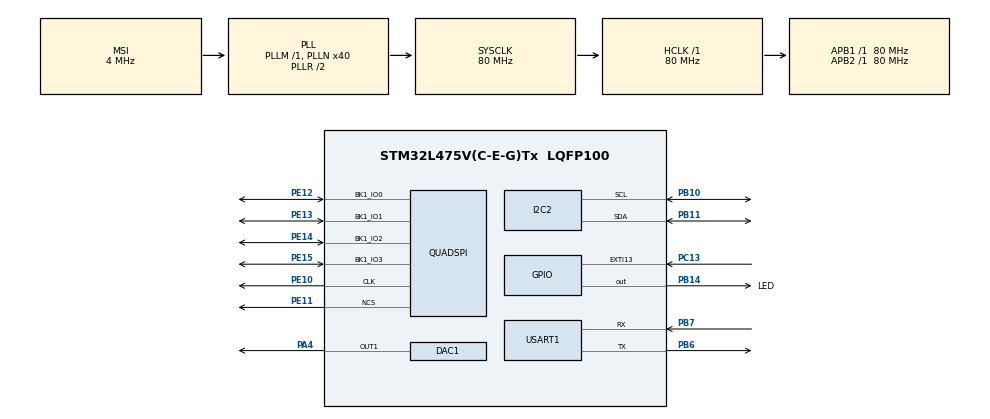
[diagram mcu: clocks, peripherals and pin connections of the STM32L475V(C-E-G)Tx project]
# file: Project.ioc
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DAC1.DAC_Trigger-DAC_OUT1=DAC_TRIGGER_T2_TRGO
Dma.DAC_CH1.0.Direction=DMA_MEMORY_TO_PERIPH
Dma.DAC_CH1.0.Instance=DMA1_Channel3
Dma.DAC_CH1.0.MemDataAlignment=DMA_MDATAALIGN_BYTE
Dma.DAC_CH1.0.MemInc=DMA_MINC_ENABLE
Dma.DAC_CH1.0.Mode=DMA_CIRCULAR
Dma.DAC_CH1.0.PeriphDataAlignment=DMA_PDATAALIGN_BYTE
Dma.DAC_CH1.0.PeriphInc=DMA_PINC_DISABLE
Dma.DAC_CH1.0.Priority=DMA_PRIORITY_LOW
Dma.Request0=DAC_CH1
I2C2.Timing=0x10909CEC
Mcu.Family=STM32L4
Mcu.Name=STM32L475V(C-E-G)Tx
Mcu.Package=LQFP100
NVIC.DMA1_Channel3_IRQn=true\:0\:0\:false\:false\:true\:false\:true
NVIC.EXTI15_10_IRQn=true\:0\:0\:false\:false\:true\:true\:true
NVIC.PriorityGroup=NVIC_PRIORITYGROUP_4
NVIC.TIM2_IRQn=true\:0\:0\:false\:false\:true\:true\:true
NVIC.TIM3_IRQn=true\:1\:0\:true\:false\:true\:true\:true
NVIC.TIM4_IRQn=true\:0\:0\:true\:false\:true\:true\:true
PA13\ (JTMS-SWDIO).Signal=SYS_JTMS-SWDIO
PA4.Signal=COMP_DAC11_group
PB10.Mode=I2C
PB10.Signal=I2C2_SCL
PB11.Mode=I2C
PB11.Signal=I2C2_SDA
PB14.GPIO_Label=LED
PB14.Signal=GPIO_Output
PB3\ (JTDO-TRACESWO).Signal=SYS_JTDO-SWO
PB6.Mode=Asynchronous
PB6.Signal=USART1_TX
PB7.Mode=Asynchronous
PB7.Signal=USART1_RX
PC13.GPIO_ModeDefaultEXTI=GPIO_MODE_IT_FALLING
PC13.Signal=GPXTI13
PE10.Mode=Single Bank
PE10.Signal=QUADSPI_CLK
PE11.Mode=Single Bank
PE11.Signal=QUADSPI_NCS
PE12.Mode=Single Bank
PE12.Signal=QUADSPI_BK1_IO0
PE13.Mode=Single Bank
PE13.Signal=QUADSPI_BK1_IO1
PE14.Mode=Single Bank
PE14.Signal=QUADSPI_BK1_IO2
PE15.Mode=Single Bank
PE15.Signal=QUADSPI_BK1_IO3
ProjectManager.HeapSize=0x200
ProjectManager.StackSize=0x400
ProjectManager.TargetToolchain=STM32CubeIDE
RCC.ADCFreq_Value=48000000
RCC.AHBFreq_Value=80000000
RCC.APB1Freq_Value=80000000
RCC.APB1TimFreq_Value=80000000
RCC.APB2Freq_Value=80000000
RCC.APB2TimFreq_Value=80000000
RCC.CortexFreq_Value=80000000
RCC.HCLKFreq_Value=80000000
RCC.HSE_VALUE=8000000
RCC.HSI_VALUE=16000000
RCC.LSE_VALUE=32768
RCC.MSI_VALUE=4000000
RCC.PLLN=40
RCC.PLLSAI1N=24
RCC.SYSCLKFreq_VALUE=80000000
RCC.SYSCLKSource=RCC_SYSCLKSOURCE_PLLCLK
RCC.USBFreq_Value=48000000
RCC.VCOOutputFreq_Value=160000000
SH.COMP_DAC11_group.0=DAC1_OUT1,DAC_OUT1
TIM2.Period=1814
TIM2.TIM_MasterOutputTrigger=TIM_TRGO_UPDATE
TIM3.Period=40000
TIM3.Prescaler=100
TIM4.Period=40000
TIM4.Prescaler=101
TIM4.TIM_MasterSlaveMode=TIM_MASTERSLAVEMODE_DISABLE
USART1.VirtualMode-Asynchronous=VM_ASYNC
VP_TIM2_VS_ClockSourceINT.Mode=Internal
VP_TIM3_VS_ClockSourceINT.Mode=Internal
VP_TIM4_VS_ClockSourceINT.Mode=Internal
board=B-L475E-IOT01A1

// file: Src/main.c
/* USER CODE BEGIN Header */
/**
  ******************************************************************************
  * @file           : main.c
  * @brief          : Main program body
  ******************************************************************************
  * @attention
  *
  * <h2><center>&copy; Copyright (c) 2020 STMicroelectronics.
  * All rights reserved.</center></h2>
  *
  * This software component is licensed by ST under BSD 3-Clause license,
  * the "License"; You may not use this file except in compliance with the
  * License. You may obtain a copy of the License at:
  *                        opensource.org/licenses/BSD-3-Clause
  *
  ******************************************************************************
  */
/* USER CODE END Header */
#include "main.h"

/* USER CODE BEGIN Includes */
#include <string.h>
#include <stdio.h>
#include <math.h>
#include <time.h>
#include <sys/time.h>

#define ARM_MATH_CM4
#include "arm_math.h"
#include "stm32l475e_iot01.h"
#include "stm32l475e_iot01_accelero.h"
#include "stm32l475e_iot01_qspi.h"
/* USER CODE END Includes */

/* USER CODE BEGIN PD */
#define BLOCK_SIZE 65536
int blockMemoryIndex = 10;
int blockNum = 0;
int filledOnce = 0;
int eraseMode = 0;
int beginUART = 0;
int readblockMemoryIndex = 10;
int readBlockNum = 0;
int blocksRead = 0;
int qspiMode = 0; //0 for write, 1 for read
int zeroMagCounter = 0;
int prevMag = 0;
int readCount = 0; //used to display the time
int startQSPI = 0;
/* USER CODE END PD */

DAC_HandleTypeDef hdac1;
DMA_HandleTypeDef hdma_dac_ch1;

I2C_HandleTypeDef hi2c2;

QSPI_HandleTypeDef hqspi;

TIM_HandleTypeDef htim2;
TIM_HandleTypeDef htim3;
TIM_HandleTypeDef htim4;

UART_HandleTypeDef huart1;

/* USER CODE BEGIN PV */
int16_t accelero_XYZ[3];
char accelero_XYZ_buffer[100];
int16_t prev_accelero_XYZ[3];
char max_accelero_XYZ_buffer[100];
uint8_t magnitude;
/* USER CODE END PV */

void SystemClock_Config(void);
static void MX_GPIO_Init(void);
static void MX_DMA_Init(void);
static void MX_DAC1_Init(void);
static void MX_TIM2_Init(void);
static void MX_QUADSPI_Init(void);
static void MX_I2C2_Init(void);
static void MX_USART1_UART_Init(void);
static void MX_TIM3_Init(void);
static void MX_TIM4_Init(void);
/* USER CODE BEGIN PFP */
void HAL_GPIO_EXTI_Callback(uint16_t GPIO_Pin);
void HAL_TIM_PeriodElapsedCallback(TIM_HandleTypeDef* htim);

/* USER CODE END PFP */

int main(void)
{

  /* MCU Configuration--------------------------------------------------------*/

  /* Reset of all peripherals, Initializes the Flash interface and the Systick. */
  HAL_Init();

  /* Configure the system clock */
  SystemClock_Config();

  /* Initialize all configured peripherals */
  MX_GPIO_Init();
  MX_DMA_Init();
  MX_DAC1_Init();
  MX_TIM2_Init();
  MX_QUADSPI_Init();
  MX_I2C2_Init();
  MX_USART1_UART_Init();
  MX_TIM3_Init();
  MX_TIM4_Init();
  /* USER CODE BEGIN 2 */

  /* Initialize I2C sensors */
  BSP_ACCELERO_Init();
  /* Set low power mode for accelerometer */
  BSP_ACCELERO_LowPower(1);
  /* Initialize QSPI */
  BSP_QSPI_Init();

  for (int i = 0; i <= 12; i++) { //init by erasing the 13 blocks used (832 kb)
	  if(BSP_QSPI_Erase_Block(i*BLOCK_SIZE) != QSPI_OK){
		  Error_Handler();
	  }
  }

  //store the sound wave in QSPI
  uint8_t sineWave[32];
  float radian_1 = 0;
  for (int i = 0; i < 32; i++) {
	  sineWave[i] = 100 * arm_sin_f32(radian_1) + 100;
	  radian_1 += PI/2;
  }

  //write the sine wave to the first block in flash
  if(BSP_QSPI_Write(sineWave, 0, 32) != QSPI_OK){
 		  Error_Handler();
  }

  // read initial values
  BSP_ACCELERO_AccGetXYZ(prev_accelero_XYZ);

  // start TIM3 for accelerometer reading
  HAL_TIM_Base_Start_IT(&htim3);

  /* USER CODE END 2 */

  /* Infinite loop */
  while (1) {

  }
}

void SystemClock_Config(void)
{
  RCC_OscInitTypeDef RCC_OscInitStruct = {0};
  RCC_ClkInitTypeDef RCC_ClkInitStruct = {0};
  RCC_PeriphCLKInitTypeDef PeriphClkInit = {0};

  /** Initializes the RCC Oscillators according to the specified parameters
  * in the RCC_OscInitTypeDef structure.
  */
  RCC_OscInitStruct.OscillatorType = RCC_OSCILLATORTYPE_MSI;
  RCC_OscInitStruct.MSIState = RCC_MSI_ON;
  RCC_OscInitStruct.MSICalibrationValue = 0;
  RCC_OscInitStruct.MSIClockRange = RCC_MSIRANGE_6;
  RCC_OscInitStruct.PLL.PLLState = RCC_PLL_ON;
  RCC_OscInitStruct.PLL.PLLSource = RCC_PLLSOURCE_MSI;
  RCC_OscInitStruct.PLL.PLLM = 1;
  RCC_OscInitStruct.PLL.PLLN = 40;
  RCC_OscInitStruct.PLL.PLLP = RCC_PLLP_DIV7;
  RCC_OscInitStruct.PLL.PLLQ = RCC_PLLQ_DIV2;
  RCC_OscInitStruct.PLL.PLLR = RCC_PLLR_DIV2;
  if (HAL_RCC_OscConfig(&RCC_OscInitStruct) != HAL_OK)
  {
    Error_Handler();
  }
  /** Initializes the CPU, AHB and APB buses clocks
  */
  RCC_ClkInitStruct.ClockType = RCC_CLOCKTYPE_HCLK|RCC_CLOCKTYPE_SYSCLK
                              |RCC_CLOCKTYPE_PCLK1|RCC_CLOCKTYPE_PCLK2;
  RCC_ClkInitStruct.SYSCLKSource = RCC_SYSCLKSOURCE_PLLCLK;
  RCC_ClkInitStruct.AHBCLKDivider = RCC_SYSCLK_DIV1;
  RCC_ClkInitStruct.APB1CLKDivider = RCC_HCLK_DIV1;
  RCC_ClkInitStruct.APB2CLKDivider = RCC_HCLK_DIV1;

  if (HAL_RCC_ClockConfig(&RCC_ClkInitStruct, FLASH_LATENCY_4) != HAL_OK)
  {
    Error_Handler();
  }
  PeriphClkInit.PeriphClockSelection = RCC_PERIPHCLK_USART1|RCC_PERIPHCLK_I2C2;
  PeriphClkInit.Usart1ClockSelection = RCC_USART1CLKSOURCE_PCLK2;
  PeriphClkInit.I2c2ClockSelection = RCC_I2C2CLKSOURCE_PCLK1;
  if (HAL_RCCEx_PeriphCLKConfig(&PeriphClkInit) != HAL_OK)
  {
    Error_Handler();
  }
  /** Configure the main internal regulator output voltage
  */
  if (HAL_PWREx_ControlVoltageScaling(PWR_REGULATOR_VOLTAGE_SCALE1) != HAL_OK)
  {
    Error_Handler();
  }
}

static void MX_DAC1_Init(void)
{

  DAC_ChannelConfTypeDef sConfig = {0};

  /** DAC Initialization
  */
  hdac1.Instance = DAC1;
  if (HAL_DAC_Init(&hdac1) != HAL_OK)
  {
    Error_Handler();
  }
  /** DAC channel OUT1 config
  */
  sConfig.DAC_SampleAndHold = DAC_SAMPLEANDHOLD_DISABLE;
  sConfig.DAC_Trigger = DAC_TRIGGER_T2_TRGO;
  sConfig.DAC_OutputBuffer = DAC_OUTPUTBUFFER_ENABLE;
  sConfig.DAC_ConnectOnChipPeripheral = DAC_CHIPCONNECT_DISABLE;
  sConfig.DAC_UserTrimming = DAC_TRIMMING_FACTORY;
  if (HAL_DAC_ConfigChannel(&hdac1, &sConfig, DAC_CHANNEL_1) != HAL_OK)
  {
    Error_Handler();
  }

}

static void MX_I2C2_Init(void)
{

  hi2c2.Instance = I2C2;
  hi2c2.Init.Timing = 0x10909CEC;
  hi2c2.Init.OwnAddress1 = 0;
  hi2c2.Init.AddressingMode = I2C_ADDRESSINGMODE_7BIT;
  hi2c2.Init.DualAddressMode = I2C_DUALADDRESS_DISABLE;
  hi2c2.Init.OwnAddress2 = 0;
  hi2c2.Init.OwnAddress2Masks = I2C_OA2_NOMASK;
  hi2c2.Init.GeneralCallMode = I2C_GENERALCALL_DISABLE;
  hi2c2.Init.NoStretchMode = I2C_NOSTRETCH_DISABLE;
  if (HAL_I2C_Init(&hi2c2) != HAL_OK)
  {
    Error_Handler();
  }
  /** Configure Analogue filter
  */
  if (HAL_I2CEx_ConfigAnalogFilter(&hi2c2, I2C_ANALOGFILTER_ENABLE) != HAL_OK)
  {
    Error_Handler();
  }
  /** Configure Digital filter
  */
  if (HAL_I2CEx_ConfigDigitalFilter(&hi2c2, 0) != HAL_OK)
  {
    Error_Handler();
  }

}

static void MX_QUADSPI_Init(void)
{

  /* QUADSPI parameter configuration*/
  hqspi.Instance = QUADSPI;
  hqspi.Init.ClockPrescaler = 255;
  hqspi.Init.FifoThreshold = 1;
  hqspi.Init.SampleShifting = QSPI_SAMPLE_SHIFTING_NONE;
  hqspi.Init.FlashSize = 1;
  hqspi.Init.ChipSelectHighTime = QSPI_CS_HIGH_TIME_1_CYCLE;
  hqspi.Init.ClockMode = QSPI_CLOCK_MODE_0;
  if (HAL_QSPI_Init(&hqspi) != HAL_OK)
  {
    Error_Handler();
  }

}

static void MX_TIM2_Init(void)
{

  TIM_ClockConfigTypeDef sClockSourceConfig = {0};
  TIM_MasterConfigTypeDef sMasterConfig = {0};

  htim2.Instance = TIM2;
  htim2.Init.Prescaler = 0;
  htim2.Init.CounterMode = TIM_COUNTERMODE_UP;
  htim2.Init.Period = 1814;
  htim2.Init.ClockDivision = TIM_CLOCKDIVISION_DIV1;
  htim2.Init.AutoReloadPreload = TIM_AUTORELOAD_PRELOAD_DISABLE;
  if (HAL_TIM_Base_Init(&htim2) != HAL_OK)
  {
    Error_Handler();
  }
  sClockSourceConfig.ClockSource = TIM_CLOCKSOURCE_INTERNAL;
  if (HAL_TIM_ConfigClockSource(&htim2, &sClockSourceConfig) != HAL_OK)
  {
    Error_Handler();
  }
  sMasterConfig.MasterOutputTrigger = TIM_TRGO_UPDATE;
  sMasterConfig.MasterSlaveMode = TIM_MASTERSLAVEMODE_DISABLE;
  if (HAL_TIMEx_MasterConfigSynchronization(&htim2, &sMasterConfig) != HAL_OK)
  {
    Error_Handler();
  }

}

static void MX_TIM3_Init(void)
{

  TIM_ClockConfigTypeDef sClockSourceConfig = {0};
  TIM_MasterConfigTypeDef sMasterConfig = {0};

  htim3.Instance = TIM3;
  htim3.Init.Prescaler = 100;
  htim3.Init.CounterMode = TIM_COUNTERMODE_UP;
  htim3.Init.Period = 40000;
  htim3.Init.ClockDivision = TIM_CLOCKDIVISION_DIV1;
  htim3.Init.AutoReloadPreload = TIM_AUTORELOAD_PRELOAD_DISABLE;
  if (HAL_TIM_Base_Init(&htim3) != HAL_OK)
  {
    Error_Handler();
  }
  sClockSourceConfig.ClockSource = TIM_CLOCKSOURCE_INTERNAL;
  if (HAL_TIM_ConfigClockSource(&htim3, &sClockSourceConfig) != HAL_OK)
  {
    Error_Handler();
  }
  sMasterConfig.MasterOutputTrigger = TIM_TRGO_RESET;
  sMasterConfig.MasterSlaveMode = TIM_MASTERSLAVEMODE_DISABLE;
  if (HAL_TIMEx_MasterConfigSynchronization(&htim3, &sMasterConfig) != HAL_OK)
  {
    Error_Handler();
  }

}

static void MX_TIM4_Init(void)
{

  TIM_ClockConfigTypeDef sClockSourceConfig = {0};
  TIM_MasterConfigTypeDef sMasterConfig = {0};

  htim4.Instance = TIM4;
  htim4.Init.Prescaler = 101;
  htim4.Init.CounterMode = TIM_COUNTERMODE_UP;
  htim4.Init.Period = 40000;
  htim4.Init.ClockDivision = TIM_CLOCKDIVISION_DIV1;
  htim4.Init.AutoReloadPreload = TIM_AUTORELOAD_PRELOAD_DISABLE;
  if (HAL_TIM_Base_Init(&htim4) != HAL_OK)
  {
    Error_Handler();
  }
  sClockSourceConfig.ClockSource = TIM_CLOCKSOURCE_INTERNAL;
  if (HAL_TIM_ConfigClockSource(&htim4, &sClockSourceConfig) != HAL_OK)
  {
    Error_Handler();
  }
  sMasterConfig.MasterOutputTrigger = TIM_TRGO_RESET;
  sMasterConfig.MasterSlaveMode = TIM_MASTERSLAVEMODE_DISABLE;
  if (HAL_TIMEx_MasterConfigSynchronization(&htim4, &sMasterConfig) != HAL_OK)
  {
    Error_Handler();
  }

}

static void MX_USART1_UART_Init(void)
{

  huart1.Instance = USART1;
  huart1.Init.BaudRate = 115200;
  huart1.Init.WordLength = UART_WORDLENGTH_8B;
  huart1.Init.StopBits = UART_STOPBITS_1;
  huart1.Init.Parity = UART_PARITY_NONE;
  huart1.Init.Mode = UART_MODE_TX_RX;
  huart1.Init.HwFlowCtl = UART_HWCONTROL_NONE;
  huart1.Init.OverSampling = UART_OVERSAMPLING_16;
  huart1.Init.OneBitSampling = UART_ONE_BIT_SAMPLE_DISABLE;
  huart1.AdvancedInit.AdvFeatureInit = UART_ADVFEATURE_NO_INIT;
  if (HAL_UART_Init(&huart1) != HAL_OK)
  {
    Error_Handler();
  }

}

static void MX_DMA_Init(void)
{

  /* DMA controller clock enable */
  __HAL_RCC_DMA1_CLK_ENABLE();

  /* DMA interrupt init */
  /* DMA1_Channel3_IRQn interrupt configuration */
  HAL_NVIC_SetPriority(DMA1_Channel3_IRQn, 0, 0);
  HAL_NVIC_EnableIRQ(DMA1_Channel3_IRQn);

}

static void MX_GPIO_Init(void)
{
  GPIO_InitTypeDef GPIO_InitStruct = {0};

  /* GPIO Ports Clock Enable */
  __HAL_RCC_GPIOC_CLK_ENABLE();
  __HAL_RCC_GPIOA_CLK_ENABLE();
  __HAL_RCC_GPIOE_CLK_ENABLE();
  __HAL_RCC_GPIOB_CLK_ENABLE();

  /*Configure GPIO pin Output Level */
  HAL_GPIO_WritePin(LED_GPIO_Port, LED_Pin, GPIO_PIN_RESET);

  /*Configure GPIO pin : PC13 */
  GPIO_InitStruct.Pin = GPIO_PIN_13;
  GPIO_InitStruct.Mode = GPIO_MODE_IT_FALLING;
  GPIO_InitStruct.Pull = GPIO_NOPULL;
  HAL_GPIO_Init(GPIOC, &GPIO_InitStruct);

  /*Configure GPIO pin : LED_Pin */
  GPIO_InitStruct.Pin = LED_Pin;
  GPIO_InitStruct.Mode = GPIO_MODE_OUTPUT_PP;
  GPIO_InitStruct.Pull = GPIO_NOPULL;
  GPIO_InitStruct.Speed = GPIO_SPEED_FREQ_LOW;
  HAL_GPIO_Init(LED_GPIO_Port, &GPIO_InitStruct);

  /* EXTI interrupt init*/
  HAL_NVIC_SetPriority(EXTI15_10_IRQn, 0, 0);
  HAL_NVIC_EnableIRQ(EXTI15_10_IRQn);

}

/* USER CODE BEGIN 4 */
void HAL_TIM_PeriodElapsedCallback(TIM_HandleTypeDef* htim) {
	// since we have 2 timers, make sure TIM3 is called for this method
	if (htim->Instance == TIM3) {
		/*Read Acceleration Value*/
		BSP_ACCELERO_AccGetXYZ(accelero_XYZ);

		//Cartesian Distance
		double x = pow(accelero_XYZ[0]-prev_accelero_XYZ[0],2);
		double y = pow(accelero_XYZ[1]-prev_accelero_XYZ[1],2);
		double z = pow(accelero_XYZ[2]-prev_accelero_XYZ[2],2);
		double sum = x+y+z;
		double dist = sqrt(sum);

		//Update previous point
		prev_accelero_XYZ[0] = accelero_XYZ[0];
		prev_accelero_XYZ[1] = accelero_XYZ[1];
		prev_accelero_XYZ[2] = accelero_XYZ[2];

		/*Debugging Purposes*/
		sprintf(accelero_XYZ_buffer, "\nAcceleration: X:%d Y:%d Z:%d\n",(int) accelero_XYZ[0],(int) accelero_XYZ[1],(int)accelero_XYZ[2]);
		if(qspiMode == 0) HAL_UART_Transmit(&huart1, accelero_XYZ_buffer, 100, 30000);

		/*Convert in terms of g*/
		double dist_g = dist / 9.81;

		/*Debugging if the peak values are correct in terms of g*/
//		sprintf(max_accelero_XYZ_buffer, "\nMagnitude: %d g\n", (int) dist);
		sprintf(max_accelero_XYZ_buffer, "\nMagnitude: %d g\n", (int) magnitude);
		if(qspiMode == 0) HAL_UART_Transmit(&huart1, max_accelero_XYZ_buffer, 100, 30000);

		/*Classify the magnitude of the difference*/
		if (dist_g > 30) {
			magnitude = 0;
			if (30 <= dist_g && dist_g < 39) {
				magnitude = 4;
			} else if (39 <= dist_g && dist_g < 92){
				magnitude = 5;
			} else if (92 <= dist_g && dist_g < 180) {
				magnitude = 6;
			} else if (180 <= dist_g && dist_g < 340){
				magnitude = 7;
			} else if (340 <= dist_g && dist_g < 650){
				magnitude = 8;
			} else if (650 <= dist_g && dist_g < 1240){
				magnitude = 9;
			} else if (dist_g >= 1240){
				magnitude = 10;
			}
		}

		if (magnitude > 5) {
			// first, sound the alarm
			uint8_t sineWave[32];
			//get the soundwave stored in the first block of the QSPI
			if(BSP_QSPI_Read(sineWave, 0, 32) != QSPI_OK){
			 		  Error_Handler();
			}
			HAL_TIM_Base_Start(&htim2);
			HAL_DAC_Start_DMA(&hdac1, DAC_CHANNEL_1, (uint32_t*) sineWave, 32, DAC_ALIGN_8B_R);

			//start saving to qspi
			startQSPI = 1;

		}

		if(startQSPI == 1) {
				if(magnitude == 0 && prevMag == 0){
					zeroMagCounter++;
				} else if(magnitude == 0 && prevMag != 0){
					zeroMagCounter = 1;
				} else if(magnitude != 0){
					zeroMagCounter = 0;
				}

				prevMag = magnitude;

				int16_t accelX = accelero_XYZ[0];
				int16_t accelY = accelero_XYZ[1];
				int16_t accelZ = accelero_XYZ[2];

				if(zeroMagCounter < 60) {
					int testval = magnitude;

					//write acceleration values and magnitude to respective blocks
					if(BSP_QSPI_Write(&accelX, (blockNum+1)*BLOCK_SIZE + blockMemoryIndex, 2) != QSPI_OK){
						Error_Handler();
					}
					if(BSP_QSPI_Write(&accelY, (blockNum+2)*BLOCK_SIZE + blockMemoryIndex, 2) != QSPI_OK){
						Error_Handler();
					}
					if(BSP_QSPI_Write(&accelZ, (blockNum+3)*BLOCK_SIZE + blockMemoryIndex, 2) != QSPI_OK){
						Error_Handler();
					}
					if(BSP_QSPI_Write(&magnitude, (blockNum+4)*BLOCK_SIZE + blockMemoryIndex, 2) != QSPI_OK){
						Error_Handler();
					}

					blockMemoryIndex += 2; //+2 because we are counting the values as uint16 so need 2 bytes, (same for magnitude although uint_8t)

					if (blockMemoryIndex >= BLOCK_SIZE - 8) { //last write in the block at address BlockSize-10
						blockMemoryIndex = 10; //first write in the block at address 10, if done from 0 to blocksize causes some issues at the borders of the block
						blockNum += 4;
					}

					if (blockNum > 8) { //provides 3 blocks of memory for each x y z and
						blockNum = 0;
						filledOnce = 1;
						eraseMode = 1;
					}

					if (filledOnce == 1 && eraseMode == 1) {
						//erase the ones of the next blockNum which we will write the values to

						if(BSP_QSPI_Erase_Block(BLOCK_SIZE*(blockNum +1)) != QSPI_OK){ //erase x accels
							Error_Handler();
						}
						if(BSP_QSPI_Erase_Block(BLOCK_SIZE*(blockNum +2)) != QSPI_OK){ //erase y accels
							Error_Handler();
						}
						if(BSP_QSPI_Erase_Block(BLOCK_SIZE*(blockNum +3)) != QSPI_OK){ //erase z accels
							Error_Handler();
						}
						if(BSP_QSPI_Erase_Block(BLOCK_SIZE*(blockNum +4)) != QSPI_OK){ //erase magnitude
							Error_Handler();
						}

					}
				} else{ // 3 seconds of 0 magnitude means we stop writing accel values
					startQSPI = 0;
				}

		}
		magnitude = 0;
	}
	if (htim->Instance == TIM4) {

				int16_t spiX, spiY, spiZ, spiMag;

				if(filledOnce == 1 && blocksRead == 0){ //if was filled at least once oldest value is the 4 blocks ahead of the ones being written
					readBlockNum = blockNum + 4;
					if(readBlockNum > 32) readBlockNum = 0; //reset the number if we are at the last set of 4 blocks
					readblockMemoryIndex = 10;
				}

				//read values
				if(BSP_QSPI_Read(&spiX, (readBlockNum+1)*BLOCK_SIZE + readblockMemoryIndex, 2) != QSPI_OK){
					Error_Handler();
				}
				if(BSP_QSPI_Read(&spiY, (readBlockNum+2)*BLOCK_SIZE + readblockMemoryIndex, 2) != QSPI_OK){
					Error_Handler();
				}
				if(BSP_QSPI_Read(&spiZ, (readBlockNum+3)*BLOCK_SIZE + readblockMemoryIndex, 2) != QSPI_OK){
					Error_Handler();
				}
				if(BSP_QSPI_Read(&spiMag, (readBlockNum+4)*BLOCK_SIZE + readblockMemoryIndex, 2) != QSPI_OK){
					Error_Handler();
				}

				float timeStamp = 0.05*readCount; //sample is 0.05 seconds difference between each read value
				char uartTransmit[75];

				if(filledOnce == 0 && readCount == 0 && readBlockNum == blockNum && readblockMemoryIndex >= blockMemoryIndex){
					blocksRead = 3;
					sprintf(uartTransmit, "\nNO SAVED DATA FOUND\n");
					HAL_UART_Transmit(&huart1, uartTransmit, 22, 30000);

				} else {
					sprintf(uartTransmit, "\nTime: %f s-- Acceleration read: X:%d Y:%d Z:%d; Magnitude: %d\n", timeStamp,(int) spiX,(int) spiY,(int)spiZ, (int)spiMag);
					HAL_UART_Transmit(&huart1, uartTransmit, 75, 30000);

				}

				readCount++;

				readblockMemoryIndex += 2;

				if(readblockMemoryIndex >= BLOCK_SIZE-8){ //last write in the block at address BlockSize-10
					readblockMemoryIndex = 10; //first write in the block at address 10, if done from 0 to blocksize causes some issues at the borders of the block
					readBlockNum += 4;
					blocksRead++;
				}

				if(filledOnce == 0 && readBlockNum == blockNum && readblockMemoryIndex >= blockMemoryIndex){ //check to not write more than you have read
					blocksRead = 3; //added this just to trigger next if statement to break out of reading
				}

				if(blocksRead == 3){ //provides 3 blocks of memory for each x y z and magnitude
					readBlockNum = 0;
					char endStr[40];
					sprintf(endStr, "\nDATA TRANSMISSION FROM QSPI COMPLETE\n");
					HAL_UART_Transmit(&huart1, endStr, 40, 30000);
					readblockMemoryIndex = 10;
					readBlockNum = 0;
					blocksRead = 0;
					readCount = 0;
					qspiMode = 0; //change back to write
					HAL_TIM_Base_Stop_IT(&htim4); //stop the timer
				}

	}
}

void HAL_GPIO_EXTI_Callback(uint16_t GPIO_Pin) {
	if (GPIO_Pin == GPIO_PIN_13) {
		HAL_DAC_Stop_DMA(&hdac1, DAC_CHANNEL_1);

		//for qspi reading
		if (HAL_TIM_Base_GetState(&htim4) == HAL_TIM_STATE_READY) { //start qspi timer if it was not yet to read ( since r/w share same timer)
			HAL_TIM_Base_Start_IT(&htim4);
			qspiMode = 1;
		}
		readCount = 0;
		//
	}
}

/* USER CODE END 4 */

void Error_Handler(void)
{
  /* USER CODE BEGIN Error_Handler_Debug */
  /* User can add his own implementation to report the HAL error return state */
	  HAL_GPIO_WritePin(LED_GPIO_Port, GPIO_PIN_14, GPIO_PIN_SET);

  /* USER CODE END Error_Handler_Debug */
}

/************************ (C) COPYRIGHT STMicroelectronics *****END OF FILE****/
